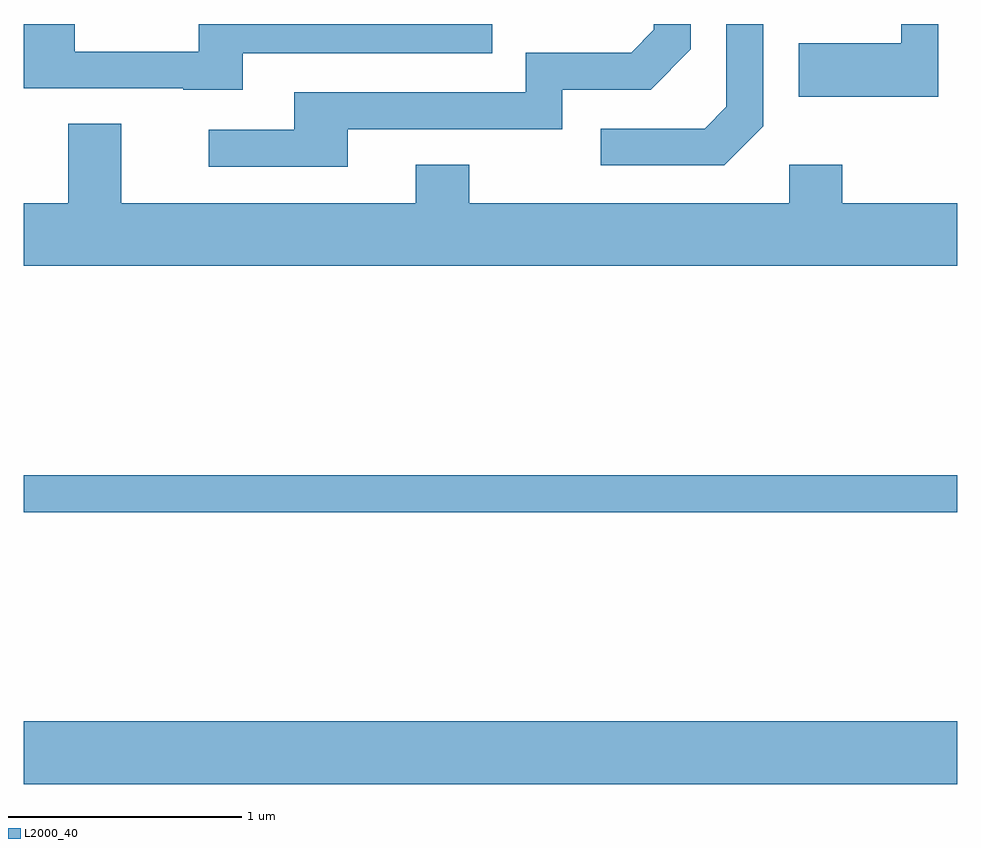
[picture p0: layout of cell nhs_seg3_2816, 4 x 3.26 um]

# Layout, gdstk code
import gdstk
lib = gdstk.Library(unit=1e-6, precision=1e-09)
def R(c, l, rs):  # rectangles x0, y0, x1, y1
    for r in rs: c.add(gdstk.rectangle(r[:2], r[2:], *l))
def P(c, l, *ps):  # polygons
    for p in ps: c.add(gdstk.Polygon(p, *l))
L2000_40 = (2000, 40)

nhs_seg3_2816 = lib.new_cell('nhs_seg3_2816')
R(nhs_seg3_2816, L2000_40, [(267.611,1172.636,271.611,1172.904), (267.611,1173.801,271.611,1173.959)])
P(nhs_seg3_2816, L2000_40, [(268.999,1175.441),(269.919,1175.441),(269.919,1175.611),(270.297,1175.611),(270.469,1175.784),(270.469,1175.892),(270.311,1175.892),(270.311,1175.867),(270.214,1175.769),(269.761,1175.769),(269.761,1175.599),(268.771,1175.599),(268.771,1175.439),(268.403,1175.439),(268.403,1175.281),(268.999,1175.281)],
  [(271.529,1175.892),(271.371,1175.892),(271.371,1175.809),(270.931,1175.809),(270.931,1175.581),(271.529,1175.581)],
  [(270.779,1175.454),(270.779,1175.892),(270.621,1175.892),(270.621,1175.537),(270.529,1175.444),(270.083,1175.444),(270.083,1175.286),(270.612,1175.286)],
  [(268.549,1175.766),(269.618,1175.766),(269.618,1175.892),(268.361,1175.892),(268.361,1175.774),(267.829,1175.774),(267.829,1175.892),(267.611,1175.892),(267.611,1175.616),(268.295,1175.616),(268.295,1175.611),(268.549,1175.611)],
  [(271.611,1175.124),(271.119,1175.124),(271.119,1175.289),(270.891,1175.289),(270.891,1175.124),(269.519,1175.124),(269.519,1175.289),(269.291,1175.289),(269.291,1175.124),(268.029,1175.124),(268.029,1175.464),(267.801,1175.464),(267.801,1175.124),(267.611,1175.124),(267.611,1174.856),(271.611,1174.856)])

lib.write_gds('nhs_seg3_2816.gds')
